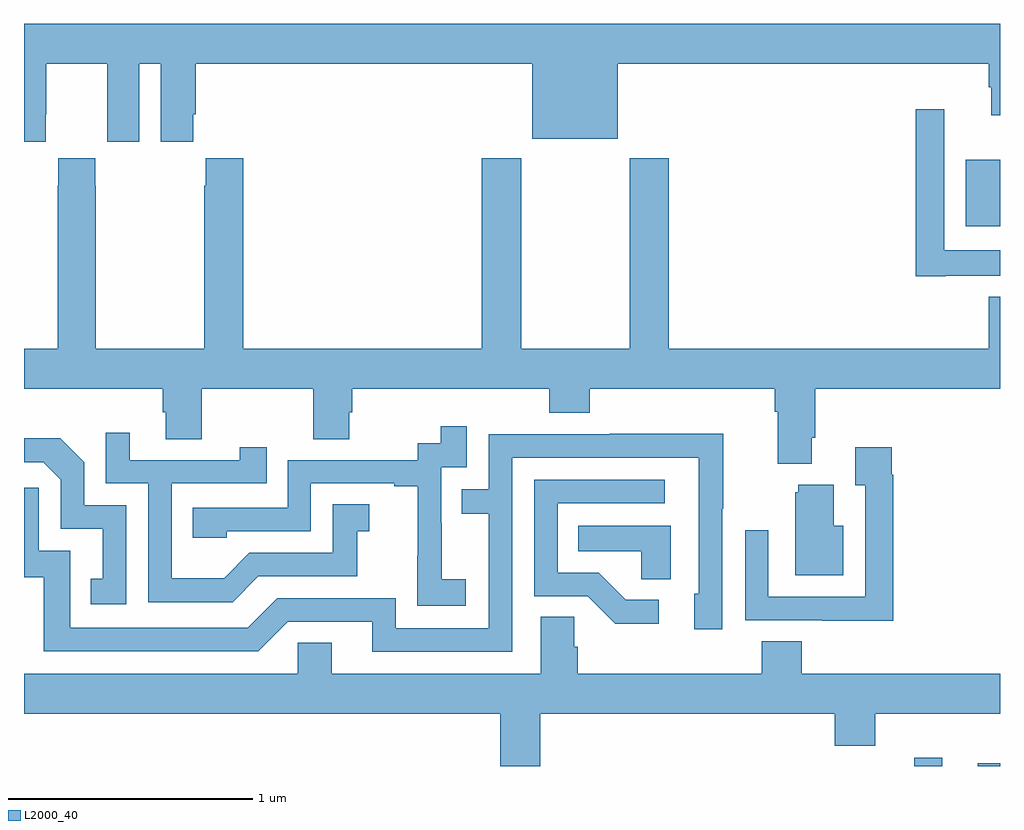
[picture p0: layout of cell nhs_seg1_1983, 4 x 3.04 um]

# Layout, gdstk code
import gdstk
lib = gdstk.Library(unit=1e-6, precision=1e-09)
def R(c, l, rs):  # rectangles x0, y0, x1, y1
    for r in rs: c.add(gdstk.rectangle(r[:2], r[2:], *l))
def P(c, l, *ps):  # polygons
    for p in ps: c.add(gdstk.Polygon(p, *l))
L2000_40 = (2000, 40)

nhs_seg1_1983 = lib.new_cell('nhs_seg1_1983')
R(nhs_seg1_1983, L2000_40, [(221.947,534.199,222.239,534.2), (222.648,534.199,222.763,534.235), (222.909,534.199,223,534.212), (222.86,536.414,223,536.686)])
P(nhs_seg1_1983, L2000_40, [(219,536.76),(219.09,536.76),(219.09,536.872),(219.091,536.872),(219.091,537.08),(219.341,537.08),(219.341,536.872),(219.342,536.872),(219.342,536.76),(219.472,536.76),(219.472,537.08),(219.56,537.08),(219.56,536.76),(219.694,536.76),(219.694,536.872),(219.704,536.872),(219.704,537.08),(221.084,537.08),(221.084,536.771),(221.434,536.771),(221.434,537.08),(222.953,537.08),(222.953,536.982),(222.965,536.982),(222.965,536.868),(223,536.868),(223,537.244),(219,537.244)],
  [(222.778,536.21),(223,536.21),(223,536.314),(222.771,536.314),(222.771,536.893),(222.655,536.893),(222.655,536.208),(222.778,536.208)],
  [(219.294,536.579),(219.291,536.579),(219.291,536.692),(219.141,536.692),(219.141,536.579),(219.139,536.579),(219.139,535.912),(219,535.912),(219,535.748),(219.569,535.748),(219.569,535.65),(219.581,535.65),(219.581,535.54),(219.729,535.54),(219.729,535.748),(220.186,535.748),(220.186,535.54),(220.333,535.54),(220.333,535.65),(220.346,535.65),(220.346,535.748),(221.153,535.748),(221.153,535.649),(221.318,535.649),(221.318,535.748),(222.077,535.748),(222.077,535.652),(222.089,535.652),(222.089,535.439),(222.229,535.439),(222.229,535.546),(222.242,535.546),(222.242,535.748),(223,535.748),(223,536.125),(222.953,536.125),(222.953,535.912),(221.642,535.912),(221.642,536.692),(221.482,536.692),(221.482,535.912),(221.037,535.912),(221.037,536.692),(220.877,536.692),(220.877,535.912),(219.899,535.912),(219.899,536.692),(219.745,536.692),(219.745,536.579),(219.739,536.579),(219.739,535.912),(219.294,535.912)],
  [(220.81,534.967),(220.712,534.967),(220.712,535.196),(220.71,535.196),(220.71,535.425),(220.815,535.425),(220.815,535.594),(220.707,535.594),(220.707,535.524),(220.614,535.524),(220.614,535.455),(220.08,535.455),(220.08,535.26),(219.691,535.26),(219.691,535.137),(219.831,535.137),(219.831,535.164),(220.176,535.164),(220.176,535.359),(220.517,535.359),(220.517,535.347),(220.613,535.347),(220.613,535.063),(220.612,535.063),(220.612,534.857),(220.81,534.857)],
  [(219.961,534.978),(220.365,534.978),(220.365,535.163),(220.414,535.163),(220.414,535.273),(220.266,535.273),(220.266,535.074),(219.924,535.074),(219.82,534.97),(219.606,534.97),(219.606,535.359),(219.995,535.359),(219.995,535.507),(219.884,535.507),(219.884,535.455),(219.433,535.455),(219.433,535.567),(219.336,535.567),(219.336,535.359),(219.51,535.359),(219.51,534.873),(219.856,534.873)],
  [(221.001,535.464),(221.766,535.464),(221.766,534.906),(221.747,534.906),(221.747,534.762),(221.862,534.762),(221.862,535.255),(221.865,535.255),(221.865,535.562),(221.401,535.562),(221.401,535.56),(220.905,535.56),(220.905,535.335),(220.795,535.335),(220.795,535.234),(220.905,535.234),(220.905,534.765),(220.524,534.765),(220.524,534.888),(220.038,534.888),(219.918,534.768),(219.189,534.768),(219.189,535.083),(219.06,535.083),(219.06,535.342),(219,535.342),(219,534.975),(219.081,534.975),(219.081,534.672),(219.96,534.672),(220.08,534.792),(220.427,534.792),(220.427,534.669),(221.001,534.669)],
  [(219.42,535.269),(219.246,535.269),(219.246,535.446),(219.148,535.544),(219,535.544),(219,535.446),(219.078,535.446),(219.15,535.374),(219.15,535.173),(219.323,535.173),(219.323,534.969),(219.274,534.969),(219.274,534.864),(219.42,534.864)],
  [(222.563,535.394),(222.556,535.394),(222.556,535.507),(222.407,535.507),(222.407,535.351),(222.447,535.351),(222.447,534.894),(222.051,534.894),(222.051,535.168),(221.955,535.168),(221.955,534.798),(222.271,534.798),(222.271,534.797),(222.563,534.797)],
  [(221.602,534.882),(221.467,534.882),(221.356,534.993),(221.187,534.993),(221.187,535.278),(221.626,535.278),(221.626,535.374),(221.091,535.374),(221.091,534.897),(221.31,534.897),(221.423,534.785),(221.602,534.785)],
  [(222.358,535.186),(222.319,535.186),(222.319,535.354),(222.173,535.354),(222.173,535.323),(222.161,535.323),(222.161,534.983),(222.358,534.983)],
  [(221.65,535.186),(221.272,535.186),(221.272,535.082),(221.529,535.082),(221.529,534.967),(221.65,534.967)],
  [(221.116,534.416),(222.323,534.416),(222.323,534.283),(222.488,534.283),(222.488,534.416),(223,534.416),(223,534.58),(222.188,534.58),(222.188,534.713),(222.023,534.713),(222.023,534.58),(221.27,534.58),(221.27,534.689),(221.256,534.689),(221.256,534.812),(221.117,534.812),(221.117,534.58),(220.261,534.58),(220.261,534.707),(220.122,534.707),(220.122,534.58),(219,534.58),(219,534.416),(220.952,534.416),(220.952,534.199),(221.116,534.199)])

lib.write_gds('nhs_seg1_1983.gds')
